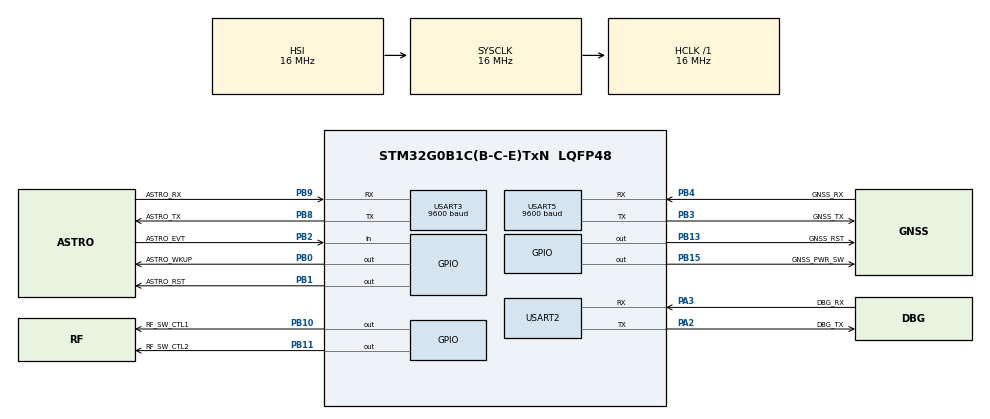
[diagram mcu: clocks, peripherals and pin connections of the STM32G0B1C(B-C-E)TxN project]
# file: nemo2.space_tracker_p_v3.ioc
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Mcu.Family=STM32G0
Mcu.Name=STM32G0B1C(B-C-E)TxN
Mcu.Package=LQFP48
PA13.GPIO_Label=SWDIO
PA13.Mode=Serial_Wire
PA13.Signal=SYS_SWDIO
PA14-BOOT0.GPIO_Label=SWCLK
PA14-BOOT0.Mode=Serial_Wire
PA14-BOOT0.Signal=SYS_SWCLK
PA2.GPIO_Label=DBG_TX
PA2.Mode=Asynchronous
PA2.Signal=USART2_TX
PA3.GPIO_Label=DBG_RX
PA3.Mode=Asynchronous
PA3.Signal=USART2_RX
PB0.GPIO_Label=ASTRO_WKUP
PB0.Signal=GPIO_Output
PB1.GPIO_Label=ASTRO_RST
PB1.Signal=GPIO_Output
PB10.GPIO_Label=RF_SW_CTL1
PB10.PinState=GPIO_PIN_SET
PB10.Signal=GPIO_Output
PB11.GPIO_Label=RF_SW_CTL2
PB11.Signal=GPIO_Output
PB13.GPIO_Label=GNSS_RST
PB13.GPIO_ModeDefaultOutputPP=GPIO_MODE_OUTPUT_OD
PB13.GPIO_PuPd=GPIO_NOPULL
PB13.Signal=GPIO_Output
PB15.GPIO_Label=GNSS_PWR_SW
PB15.Signal=GPIO_Output
PB2.GPIO_Label=ASTRO_EVT
PB2.Signal=GPIO_Input
PB3.GPIO_Label=GNSS_TX
PB3.Mode=Asynchronous
PB3.Signal=USART5_TX
PB4.GPIO_Label=GNSS_RX
PB4.Mode=Asynchronous
PB4.Signal=USART5_RX
PB8.GPIO_Label=ASTRO_TX
PB8.Mode=Asynchronous
PB8.Signal=USART3_TX
PB9.GPIO_Label=ASTRO_RX
PB9.Mode=Asynchronous
PB9.Signal=USART3_RX
PC14-OSC32_IN\ (PC14).Mode=LSE-External-Oscillator
PC14-OSC32_IN\ (PC14).Signal=RCC_OSC32_IN
PC15-OSC32_OUT\ (PC15).Mode=LSE-External-Oscillator
PC15-OSC32_OUT\ (PC15).Signal=RCC_OSC32_OUT
ProjectManager.HeapSize=0x200
ProjectManager.StackSize=0x400
ProjectManager.TargetToolchain=STM32CubeIDE
RCC.AHBFreq_Value=16000000
RCC.CortexFreq_Value=16000000
RCC.EXTERNAL_CLOCK_VALUE=48000
RCC.HCLKFreq_Value=16000000
RCC.HSE_VALUE=8000000
RCC.HSI48_VALUE=48000000
RCC.HSI_VALUE=16000000
RCC.RTCClockSelection=RCC_RTCCLKSOURCE_LSE
RCC.SYSCLKFreq_VALUE=16000000
RCC.USBFreq_Value=48000000
RCC.VCOOutputFreq_Value=128000000
RTC.Alarm-Alarm\ A=RTC_ALARM_A
USART2.VirtualMode-Asynchronous=VM_ASYNC
USART3.BaudRate=9600
USART3.VirtualMode-Asynchronous=VM_ASYNC
USART5.BaudRate=9600
USART5.VirtualMode-Asynchronous=VM_ASYNC
VP_RTC_VS_RTC_Activate.Mode=RTC_Enabled
VP_RTC_VS_RTC_Alarm_A_Intern.Mode=Alarm A
VP_RTC_VS_RTC_Calendar.Mode=RTC_Calendar
VP_SYS_VS_DBSignals.Mode=DisableDeadBatterySignals
board=custom

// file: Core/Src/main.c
/* USER CODE BEGIN Header */
/**
  ******************************************************************************
  * @file           : main.c
  * @brief          : Main program body
  ******************************************************************************
  * @attention
  *
  * Copyright (c) 2024 STMicroelectronics.
  * All rights reserved.
  *
  * This software is licensed under terms that can be found in the LICENSE file
  * in the root directory of this software component.
  * If no LICENSE file comes with this software, it is provided AS-IS.
  *
  ******************************************************************************
  */
/* USER CODE END Header */
#include "main.h"

RTC_HandleTypeDef hrtc;

UART_HandleTypeDef huart2;
UART_HandleTypeDef huart3;
UART_HandleTypeDef huart5;

/* USER CODE BEGIN PV */
// SYSTEM
const char*		hello = "\nHello nemo2.space tracker p v3\r\n" ;
const char*		fv = "0.0.3-alpha" ;
char			dbg_payload[UART_TX_MAX_BUFF_SIZE] = { 0 } ;
// ASTRO
char			astro_payload[ASTRONODE_APP_PAYLOAD_MAX_LEN_BYTES] = { 0 } ;
my_astro_cmd	astro_cmd ;

// GNSS
my_gnss_fix		fix3d ;

/* USER CODE END PV */

void SystemClock_Config(void);
static void MX_GPIO_Init(void);
static void MX_USART3_UART_Init(void);
static void MX_USART2_UART_Init(void);
static void MX_USART5_UART_Init(void);
static void MX_RTC_Init(void);
/* USER CODE BEGIN PFP */
void sys_restart ( void ) ;
bool is_astro_evt ( void ) ;
void ant_sw_pos ( uint8_t pos ) ;
/* USER CODE END PFP */

int main(void)
{

  /* MCU Configuration--------------------------------------------------------*/

  /* Reset of all peripherals, Initializes the Flash interface and the Systick. */
  HAL_Init();

  /* Configure the system clock */
  SystemClock_Config();

  /* Initialize all configured peripherals */
  MX_GPIO_Init();
  MX_USART3_UART_Init();
  MX_USART2_UART_Init();
  MX_USART5_UART_Init();
  MX_RTC_Init();
  /* USER CODE BEGIN 2 */
  send_debug_logs ( hello ) ;
  sprintf ( dbg_payload , "Firmware version: %s" , fv ) ;
  send_debug_logs ( dbg_payload ) ;
  /*sprintf ( dbg_payload , "Firmware mode: %u" , (uint16_t) sys_mode ) ;
  send_debug_logs ( dbg_payload ) ;
  sprintf ( dbg_payload , "Mission mode: %u" , (uint16_t) sys_mode ) ;
  send_debug_logs ( dbg_payload ) ;*/

  ant_sw_pos ( 2 ) ;

  if ( my_astro_init () )
	  while ( is_astro_evt () )
	  {
		  sprintf ( dbg_payload , "%s,%d,astro_evt" , __FILE__ , __LINE__ ) ;
		  send_debug_logs ( dbg_payload ) ;
		  my_astro_handle_evt () ;
	  }
  else
	  sys_restart () ;

  /* USER CODE END 2 */

  /* Infinite loop */
  /* USER CODE BEGIN WHILE */
  while (1)
  {
	  while ( is_astro_evt () )
	  {
		  sprintf ( dbg_payload , "%s,%d,astro_evt" , __FILE__ , __LINE__ ) ;
		  send_debug_logs ( dbg_payload ) ;
		  my_astro_handle_evt () ;
	  }
    /* USER CODE END WHILE */

  }
}

void SystemClock_Config(void)
{
  RCC_OscInitTypeDef RCC_OscInitStruct = {0};
  RCC_ClkInitTypeDef RCC_ClkInitStruct = {0};

  /** Configure the main internal regulator output voltage
  */
  HAL_PWREx_ControlVoltageScaling(PWR_REGULATOR_VOLTAGE_SCALE1);

  /** Configure LSE Drive Capability
  */
  HAL_PWR_EnableBkUpAccess();
  __HAL_RCC_LSEDRIVE_CONFIG(RCC_LSEDRIVE_LOW);

  /** Initializes the RCC Oscillators according to the specified parameters
  * in the RCC_OscInitTypeDef structure.
  */
  RCC_OscInitStruct.OscillatorType = RCC_OSCILLATORTYPE_HSI|RCC_OSCILLATORTYPE_LSE;
  RCC_OscInitStruct.LSEState = RCC_LSE_ON;
  RCC_OscInitStruct.HSIState = RCC_HSI_ON;
  RCC_OscInitStruct.HSIDiv = RCC_HSI_DIV1;
  RCC_OscInitStruct.HSICalibrationValue = RCC_HSICALIBRATION_DEFAULT;
  RCC_OscInitStruct.PLL.PLLState = RCC_PLL_NONE;
  if (HAL_RCC_OscConfig(&RCC_OscInitStruct) != HAL_OK)
  {
    Error_Handler();
  }

  /** Initializes the CPU, AHB and APB buses clocks
  */
  RCC_ClkInitStruct.ClockType = RCC_CLOCKTYPE_HCLK|RCC_CLOCKTYPE_SYSCLK
                              |RCC_CLOCKTYPE_PCLK1;
  RCC_ClkInitStruct.SYSCLKSource = RCC_SYSCLKSOURCE_HSI;
  RCC_ClkInitStruct.AHBCLKDivider = RCC_SYSCLK_DIV1;
  RCC_ClkInitStruct.APB1CLKDivider = RCC_HCLK_DIV1;

  if (HAL_RCC_ClockConfig(&RCC_ClkInitStruct, FLASH_LATENCY_0) != HAL_OK)
  {
    Error_Handler();
  }
}

static void MX_RTC_Init(void)
{

  RTC_TimeTypeDef sTime = {0};
  RTC_DateTypeDef sDate = {0};
  RTC_AlarmTypeDef sAlarm = {0};

  /** Initialize RTC Only
  */
  hrtc.Instance = RTC;
  hrtc.Init.HourFormat = RTC_HOURFORMAT_24;
  hrtc.Init.AsynchPrediv = 127;
  hrtc.Init.SynchPrediv = 255;
  hrtc.Init.OutPut = RTC_OUTPUT_DISABLE;
  hrtc.Init.OutPutRemap = RTC_OUTPUT_REMAP_NONE;
  hrtc.Init.OutPutPolarity = RTC_OUTPUT_POLARITY_HIGH;
  hrtc.Init.OutPutType = RTC_OUTPUT_TYPE_OPENDRAIN;
  hrtc.Init.OutPutPullUp = RTC_OUTPUT_PULLUP_NONE;
  if (HAL_RTC_Init(&hrtc) != HAL_OK)
  {
    Error_Handler();
  }

  /** Initialize RTC and set the Time and Date
  */
  sTime.Hours = 0x0;
  sTime.Minutes = 0x0;
  sTime.Seconds = 0x0;
  sTime.SubSeconds = 0x0;
  sTime.DayLightSaving = RTC_DAYLIGHTSAVING_NONE;
  sTime.StoreOperation = RTC_STOREOPERATION_RESET;
  if (HAL_RTC_SetTime(&hrtc, &sTime, RTC_FORMAT_BCD) != HAL_OK)
  {
    Error_Handler();
  }
  sDate.WeekDay = RTC_WEEKDAY_MONDAY;
  sDate.Month = RTC_MONTH_JANUARY;
  sDate.Date = 0x1;
  sDate.Year = 0x0;

  if (HAL_RTC_SetDate(&hrtc, &sDate, RTC_FORMAT_BCD) != HAL_OK)
  {
    Error_Handler();
  }

  /** Enable the Alarm A
  */
  sAlarm.AlarmTime.Hours = 0x0;
  sAlarm.AlarmTime.Minutes = 0x0;
  sAlarm.AlarmTime.Seconds = 0x0;
  sAlarm.AlarmTime.SubSeconds = 0x0;
  sAlarm.AlarmTime.DayLightSaving = RTC_DAYLIGHTSAVING_NONE;
  sAlarm.AlarmTime.StoreOperation = RTC_STOREOPERATION_RESET;
  sAlarm.AlarmMask = RTC_ALARMMASK_NONE;
  sAlarm.AlarmSubSecondMask = RTC_ALARMSUBSECONDMASK_ALL;
  sAlarm.AlarmDateWeekDaySel = RTC_ALARMDATEWEEKDAYSEL_DATE;
  sAlarm.AlarmDateWeekDay = 0x1;
  sAlarm.Alarm = RTC_ALARM_A;
  if (HAL_RTC_SetAlarm(&hrtc, &sAlarm, RTC_FORMAT_BCD) != HAL_OK)
  {
    Error_Handler();
  }

}

static void MX_USART2_UART_Init(void)
{

  huart2.Instance = USART2;
  huart2.Init.BaudRate = 115200;
  huart2.Init.WordLength = UART_WORDLENGTH_8B;
  huart2.Init.StopBits = UART_STOPBITS_1;
  huart2.Init.Parity = UART_PARITY_NONE;
  huart2.Init.Mode = UART_MODE_TX_RX;
  huart2.Init.HwFlowCtl = UART_HWCONTROL_NONE;
  huart2.Init.OverSampling = UART_OVERSAMPLING_16;
  huart2.Init.OneBitSampling = UART_ONE_BIT_SAMPLE_DISABLE;
  huart2.Init.ClockPrescaler = UART_PRESCALER_DIV1;
  huart2.AdvancedInit.AdvFeatureInit = UART_ADVFEATURE_NO_INIT;
  if (HAL_UART_Init(&huart2) != HAL_OK)
  {
    Error_Handler();
  }
  if (HAL_UARTEx_SetTxFifoThreshold(&huart2, UART_TXFIFO_THRESHOLD_1_8) != HAL_OK)
  {
    Error_Handler();
  }
  if (HAL_UARTEx_SetRxFifoThreshold(&huart2, UART_RXFIFO_THRESHOLD_1_8) != HAL_OK)
  {
    Error_Handler();
  }
  if (HAL_UARTEx_DisableFifoMode(&huart2) != HAL_OK)
  {
    Error_Handler();
  }

}

static void MX_USART3_UART_Init(void)
{

  huart3.Instance = USART3;
  huart3.Init.BaudRate = 9600;
  huart3.Init.WordLength = UART_WORDLENGTH_8B;
  huart3.Init.StopBits = UART_STOPBITS_1;
  huart3.Init.Parity = UART_PARITY_NONE;
  huart3.Init.Mode = UART_MODE_TX_RX;
  huart3.Init.HwFlowCtl = UART_HWCONTROL_NONE;
  huart3.Init.OverSampling = UART_OVERSAMPLING_16;
  huart3.Init.OneBitSampling = UART_ONE_BIT_SAMPLE_DISABLE;
  huart3.Init.ClockPrescaler = UART_PRESCALER_DIV1;
  huart3.AdvancedInit.AdvFeatureInit = UART_ADVFEATURE_NO_INIT;
  if (HAL_UART_Init(&huart3) != HAL_OK)
  {
    Error_Handler();
  }
  if (HAL_UARTEx_SetTxFifoThreshold(&huart3, UART_TXFIFO_THRESHOLD_1_8) != HAL_OK)
  {
    Error_Handler();
  }
  if (HAL_UARTEx_SetRxFifoThreshold(&huart3, UART_RXFIFO_THRESHOLD_1_8) != HAL_OK)
  {
    Error_Handler();
  }
  if (HAL_UARTEx_DisableFifoMode(&huart3) != HAL_OK)
  {
    Error_Handler();
  }

}

static void MX_USART5_UART_Init(void)
{

  huart5.Instance = USART5;
  huart5.Init.BaudRate = 9600;
  huart5.Init.WordLength = UART_WORDLENGTH_8B;
  huart5.Init.StopBits = UART_STOPBITS_1;
  huart5.Init.Parity = UART_PARITY_NONE;
  huart5.Init.Mode = UART_MODE_TX_RX;
  huart5.Init.HwFlowCtl = UART_HWCONTROL_NONE;
  huart5.Init.OverSampling = UART_OVERSAMPLING_16;
  huart5.Init.OneBitSampling = UART_ONE_BIT_SAMPLE_DISABLE;
  huart5.Init.ClockPrescaler = UART_PRESCALER_DIV1;
  huart5.AdvancedInit.AdvFeatureInit = UART_ADVFEATURE_NO_INIT;
  if (HAL_UART_Init(&huart5) != HAL_OK)
  {
    Error_Handler();
  }

}

static void MX_GPIO_Init(void)
{
  GPIO_InitTypeDef GPIO_InitStruct = {0};

  /* GPIO Ports Clock Enable */
  __HAL_RCC_GPIOC_CLK_ENABLE();
  __HAL_RCC_GPIOA_CLK_ENABLE();
  __HAL_RCC_GPIOB_CLK_ENABLE();

  /*Configure GPIO pin Output Level */
  HAL_GPIO_WritePin(GPIOB, ASTRO_WKUP_Pin|ASTRO_RST_Pin|RF_SW_CTL2_Pin|GNSS_RST_Pin
                          |GNSS_PWR_SW_Pin, GPIO_PIN_RESET);

  /*Configure GPIO pin Output Level */
  HAL_GPIO_WritePin(RF_SW_CTL1_GPIO_Port, RF_SW_CTL1_Pin, GPIO_PIN_SET);

  /*Configure GPIO pins : ASTRO_WKUP_Pin ASTRO_RST_Pin RF_SW_CTL1_Pin RF_SW_CTL2_Pin
                           GNSS_PWR_SW_Pin */
  GPIO_InitStruct.Pin = ASTRO_WKUP_Pin|ASTRO_RST_Pin|RF_SW_CTL1_Pin|RF_SW_CTL2_Pin
                          |GNSS_PWR_SW_Pin;
  GPIO_InitStruct.Mode = GPIO_MODE_OUTPUT_PP;
  GPIO_InitStruct.Pull = GPIO_NOPULL;
  GPIO_InitStruct.Speed = GPIO_SPEED_FREQ_LOW;
  HAL_GPIO_Init(GPIOB, &GPIO_InitStruct);

  /*Configure GPIO pin : ASTRO_EVT_Pin */
  GPIO_InitStruct.Pin = ASTRO_EVT_Pin;
  GPIO_InitStruct.Mode = GPIO_MODE_INPUT;
  GPIO_InitStruct.Pull = GPIO_NOPULL;
  HAL_GPIO_Init(ASTRO_EVT_GPIO_Port, &GPIO_InitStruct);

  /*Configure GPIO pin : GNSS_RST_Pin */
  GPIO_InitStruct.Pin = GNSS_RST_Pin;
  GPIO_InitStruct.Mode = GPIO_MODE_OUTPUT_OD;
  GPIO_InitStruct.Pull = GPIO_NOPULL;
  GPIO_InitStruct.Speed = GPIO_SPEED_FREQ_LOW;
  HAL_GPIO_Init(GNSS_RST_GPIO_Port, &GPIO_InitStruct);

}

/* USER CODE BEGIN 4 */

// SYSTEM Operations
void sys_restart ( void )
{
	//my_rtc_get_dt_s ( rtc_dt_s ) ;
	//sprintf ( dbg_payload , "%s,%d,%s,HAL_NVIC_SystemReset" , __FILE__ , __LINE__ , rtc_dt_s ) ;
	//send_debug_logs ( dbg_payload ) ;
	HAL_NVIC_SystemReset () ;
}

// ASTRO Operations
void astro_reset ( void )
{
    HAL_GPIO_WritePin ( ASTRO_RST_GPIO_Port , ASTRO_RST_Pin , GPIO_PIN_SET ) ;
    HAL_Delay ( 1 ) ;
    HAL_GPIO_WritePin ( ASTRO_RST_GPIO_Port , ASTRO_RST_Pin , GPIO_PIN_RESET ) ;
    HAL_Delay ( 250 ) ;
}

bool is_astro_evt ( void )
{
	return ( HAL_GPIO_ReadPin ( ASTRO_EVT_GPIO_Port , ASTRO_EVT_Pin ) == GPIO_PIN_SET ? true : false);
}

void send_debug_logs ( const char* p_tx_buffer )
{
    uint32_t length = strlen ( p_tx_buffer ) ;
    if ( length > UART_TX_MAX_BUFF_SIZE )
    {
        HAL_UART_Transmit ( &HUART_DBG , ( uint8_t* ) "[ERROR] UART buffer reached max length.\n" , 42 , 1000 ) ;
        length = UART_TX_MAX_BUFF_SIZE;
    }
    HAL_UART_Transmit ( &HUART_DBG , ( uint8_t* ) p_tx_buffer , length , 1000 ) ;
    HAL_UART_Transmit ( &HUART_DBG , ( uint8_t* ) "\n" , 1 , 1000 ) ;
}

void send_astronode_request ( uint8_t* p_tx_buffer , uint32_t length )
{
    send_debug_logs ( "Message sent to the Astronode --> " ) ;
    send_debug_logs ( ( char* ) p_tx_buffer ) ;
    HAL_UART_Transmit ( &HUART_ASTRO , p_tx_buffer , length , 1000 ) ;
}

uint32_t get_systick ( void )
{
    return HAL_GetTick() ;
}

bool is_systick_timeout_over ( uint32_t starting_value , uint16_t duration )
{
    return ( get_systick () - starting_value > duration ) ? true : false ;
}

bool is_astronode_character_received ( uint8_t* p_rx_char )
{
    return ( HAL_UART_Receive ( &HUART_ASTRO , p_rx_char , 1 , 100 ) == HAL_OK ? true : false ) ;
}

// ** ANT SW Operations
void ant_sw_pos ( uint8_t pos )
{
	if ( pos == 1 ) // Włączenie GNSS czyli ustawienie RF_SW_CTL1 = LOW i RF_SW_CTL2 = HIGH
	{
		HAL_GPIO_WritePin ( RF_SW_CTL1_GPIO_Port , RF_SW_CTL1_Pin , GPIO_PIN_RESET ) ;
		HAL_GPIO_WritePin ( RF_SW_CTL2_GPIO_Port , RF_SW_CTL2_Pin , GPIO_PIN_SET ) ;
	}
	else if ( pos == 2 )
	{
		HAL_GPIO_WritePin ( RF_SW_CTL1_GPIO_Port , RF_SW_CTL1_Pin , GPIO_PIN_SET ) ;
		HAL_GPIO_WritePin ( RF_SW_CTL2_GPIO_Port , RF_SW_CTL2_Pin , GPIO_PIN_RESET ) ;
	}
}
/* USER CODE END 4 */

void Error_Handler(void)
{
  __disable_irq();
  while (1)
  {
  }
}
